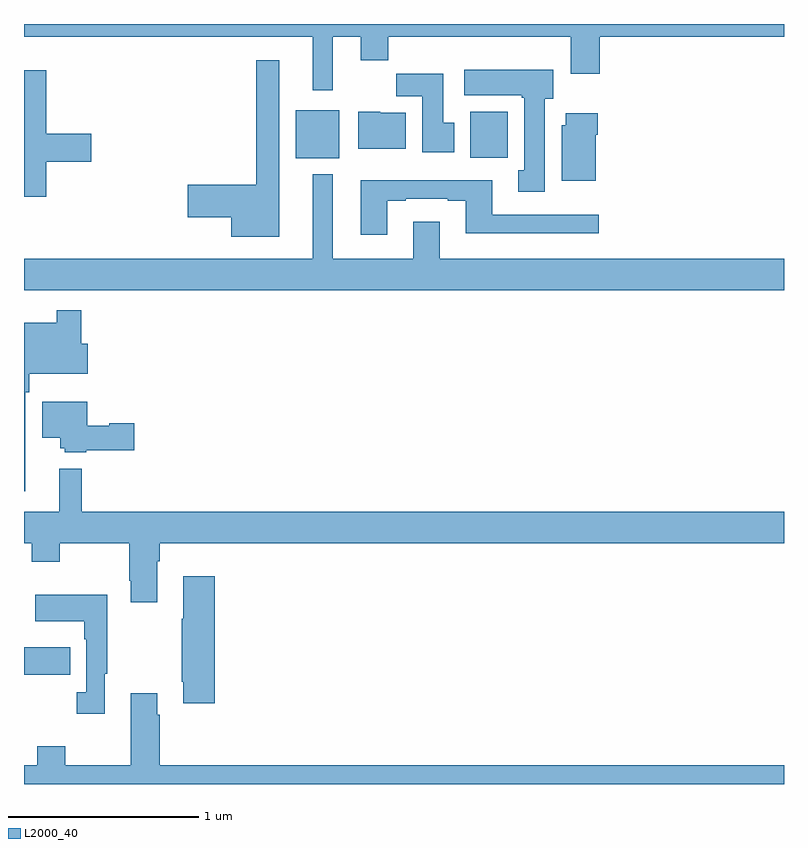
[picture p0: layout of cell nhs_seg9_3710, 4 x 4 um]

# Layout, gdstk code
import gdstk
lib = gdstk.Library(unit=1e-6, precision=1e-09)
def R(c, l, rs):  # rectangles x0, y0, x1, y1
    for r in rs: c.add(gdstk.rectangle(r[:2], r[2:], *l))
def P(c, l, *ps):  # polygons
    for p in ps: c.add(gdstk.Polygon(p, *l))
L2000_40 = (2000, 40)

nhs_seg9_3710 = lib.new_cell('nhs_seg9_3710')
R(nhs_seg9_3710, L2000_40, [(323,1181.074,323.243,1181.221), (324.431,1183.793,324.658,1184.047), (325.349,1183.796,325.546,1184.038)])
P(nhs_seg9_3710, L2000_40, [(324.625,1184.432),(324.773,1184.432),(324.773,1184.308),(324.917,1184.308),(324.917,1184.432),(325.877,1184.432),(325.877,1184.238),(326.03,1184.238),(326.03,1184.432),(327,1184.432),(327,1184.5),(323,1184.5),(323,1184.432),(324.521,1184.432),(324.521,1184.151),(324.625,1184.151)],
  [(324.343,1184.308),(324.222,1184.308),(324.222,1183.655),(323.862,1183.655),(323.862,1183.484),(324.092,1183.484),(324.092,1183.379),(324.343,1183.379)],
  [(325.741,1184.106),(325.786,1184.106),(325.786,1184.26),(325.317,1184.26),(325.317,1184.126),(325.621,1184.126),(325.621,1184.113),(325.634,1184.113),(325.634,1183.73),(325.601,1183.73),(325.601,1183.617),(325.741,1183.617)],
  [(323.117,1183.775),(323.353,1183.775),(323.353,1183.922),(323.117,1183.922),(323.117,1184.257),(323,1184.257),(323,1183.59),(323.117,1183.59)],
  [(325.264,1183.98),(325.207,1183.98),(325.207,1184.239),(324.958,1184.239),(324.958,1184.12),(325.097,1184.12),(325.097,1183.824),(325.264,1183.824)],
  [(325.009,1184.032),(324.876,1184.032),(324.876,1184.038),(324.758,1184.038),(324.758,1183.844),(325.009,1183.844)],
  [(326.008,1183.916),(326.021,1183.916),(326.021,1184.029),(325.85,1184.029),(325.85,1183.968),(325.829,1183.968),(325.829,1183.676),(326.008,1183.676)],
  [(327,1183.264),(325.189,1183.264),(325.189,1183.459),(325.049,1183.459),(325.049,1183.264),(324.625,1183.264),(324.625,1183.708),(324.521,1183.708),(324.521,1183.264),(323,1183.264),(323,1183.1),(327,1183.1)],
  [(324.913,1183.569),(325.009,1183.569),(325.009,1183.581),(325.229,1183.581),(325.229,1183.569),(325.325,1183.569),(325.325,1183.4),(326.026,1183.4),(326.026,1183.497),(325.465,1183.497),(325.465,1183.678),(324.773,1183.678),(324.773,1183.392),(324.913,1183.392)],
  [(323.007,1182.563),(323.027,1182.563),(323.027,1182.659),(323.335,1182.659),(323.335,1182.817),(323.3,1182.817),(323.3,1182.994),(323.172,1182.994),(323.172,1182.928),(323,1182.928),(323,1182.042),(323.007,1182.042)],
  [(323.328,1182.256),(323.581,1182.256),(323.581,1182.398),(323.448,1182.398),(323.448,1182.385),(323.332,1182.385),(323.332,1182.511),(323.096,1182.511),(323.096,1182.323),(323.192,1182.323),(323.192,1182.267),(323.214,1182.267),(323.214,1182.245),(323.328,1182.245)],
  [(323.701,1181.672),(323.714,1181.672),(323.714,1181.768),(327,1181.768),(327,1181.932),(323.303,1181.932),(323.303,1182.16),(323.186,1182.16),(323.186,1181.932),(323,1181.932),(323,1181.768),(323.04,1181.768),(323.04,1181.669),(323.187,1181.669),(323.187,1181.768),(323.554,1181.768),(323.554,1181.569),(323.561,1181.569),(323.561,1181.457),(323.701,1181.457)],
  [(324.005,1181.593),(323.837,1181.593),(323.837,1181.369),(323.83,1181.369),(323.83,1181.038),(323.837,1181.038),(323.837,1180.926),(324.005,1180.926)],
  [(323.425,1181.081),(323.437,1181.081),(323.437,1181.497),(323.059,1181.497),(323.059,1181.357),(323.316,1181.357),(323.316,1181.261),(323.328,1181.261),(323.328,1180.982),(323.277,1180.982),(323.277,1180.869),(323.425,1180.869)],
  [(327,1180.6),(323.714,1180.6),(323.714,1180.865),(323.701,1180.865),(323.701,1180.978),(323.561,1180.978),(323.561,1180.6),(323.217,1180.6),(323.217,1180.699),(323.069,1180.699),(323.069,1180.6),(323,1180.6),(323,1180.5),(327,1180.5)])

lib.write_gds('nhs_seg9_3710.gds')
